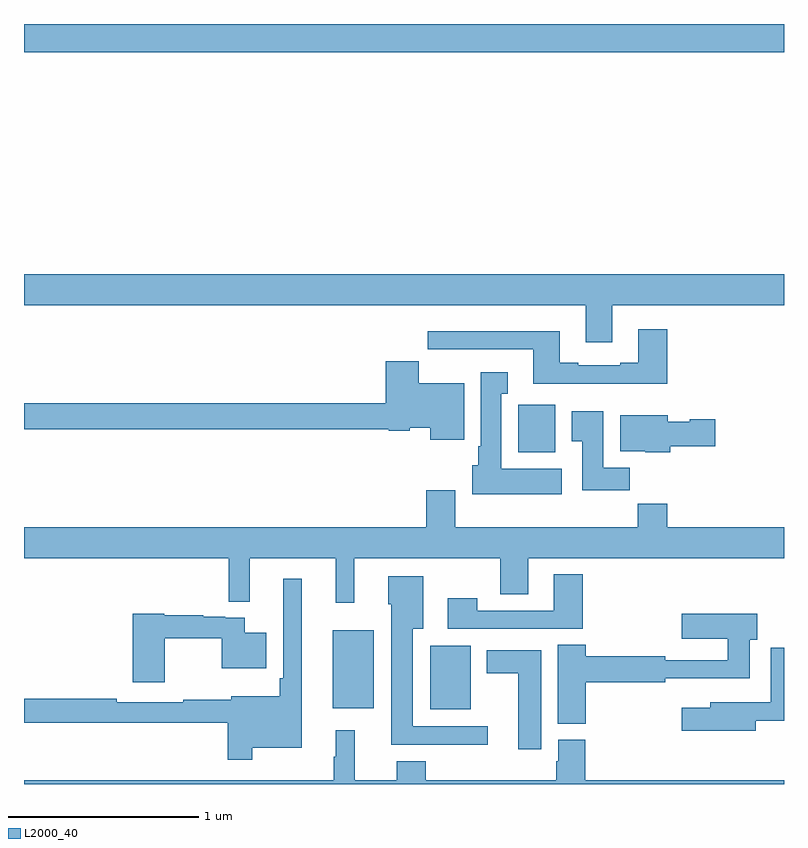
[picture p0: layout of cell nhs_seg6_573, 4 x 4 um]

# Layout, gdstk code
import gdstk
lib = gdstk.Library(unit=1e-6, precision=1e-09)
def R(c, l, rs):  # rectangles x0, y0, x1, y1
    for r in rs: c.add(gdstk.rectangle(r[:2], r[2:], *l))
def P(c, l, *ps):  # polygons
    for p in ps: c.add(gdstk.Polygon(p, *l))
L2000_40 = (2000, 40)

nhs_seg6_573 = lib.new_cell('nhs_seg6_573')
R(nhs_seg6_573, L2000_40, [(149.138,927.893,149.35,928.228), (148.625,927.899,148.84,928.309), (149.601,929.246,149.797,929.496), (147,931.352,151,931.5)])
P(nhs_seg6_573, L2000_40, [(150.097,930.02),(151,930.02),(151,930.184),(147,930.184),(147,930.02),(149.957,930.02),(149.957,929.826),(150.097,929.826)],
  [(150.386,929.893),(150.233,929.893),(150.233,929.716),(150.137,929.716),(150.137,929.703),(149.917,929.703),(149.917,929.716),(149.821,929.716),(149.821,929.884),(149.124,929.884),(149.124,929.789),(149.233,929.789),(149.233,929.787),(149.681,929.787),(149.681,929.606),(150.386,929.606)],
  [(149.317,929.608),(149.077,929.608),(149.077,929.724),(148.904,929.724),(148.904,929.504),(147,929.504),(147,929.368),(148.92,929.368),(148.92,929.36),(149.031,929.36),(149.031,929.375),(149.138,929.375),(149.138,929.312),(149.317,929.312)],
  [(149.83,929.158),(149.512,929.158),(149.512,929.555),(149.545,929.555),(149.545,929.668),(149.405,929.668),(149.405,929.278),(149.39,929.278),(149.39,929.178),(149.36,929.178),(149.36,929.024),(149.83,929.024)],
  [(150.188,929.164),(150.049,929.164),(150.049,929.461),(149.882,929.461),(149.882,929.305),(149.939,929.305),(149.939,929.046),(150.188,929.046)],
  [(150.401,929.278),(150.637,929.278),(150.637,929.42),(150.504,929.42),(150.504,929.407),(150.388,929.407),(150.388,929.44),(150.137,929.44),(150.137,929.252),(150.27,929.252),(150.27,929.246),(150.401,929.246)],
  [(148.738,928.688),(149.506,928.688),(149.506,928.498),(149.653,928.498),(149.653,928.688),(151,928.688),(151,928.852),(150.386,928.852),(150.386,928.976),(150.229,928.976),(150.229,928.852),(149.269,928.852),(149.269,929.047),(149.117,929.047),(149.117,928.852),(147,928.852),(147,928.688),(148.078,928.688),(148.078,928.459),(148.187,928.459),(148.187,928.688),(148.64,928.688),(148.64,928.455),(148.738,928.455)],
  [(149.942,928.603),(149.789,928.603),(149.789,928.413),(149.385,928.413),(149.385,928.477),(149.229,928.477),(149.229,928.317),(149.942,928.317)],
  [(149.44,927.804),(149.047,927.804),(149.047,928.316),(149.101,928.316),(149.101,928.594),(148.916,928.594),(148.916,928.446),(148.934,928.446),(148.934,927.707),(149.44,927.707)],
  [(148.201,927.692),(148.462,927.692),(148.462,928.579),(148.365,928.579),(148.365,928.057),(148.345,928.057),(148.345,927.961),(148.091,927.961),(148.091,927.943),(147.838,927.943),(147.838,927.93),(147.488,927.93),(147.488,927.95),(147,927.95),(147,927.822),(148.072,927.822),(148.072,927.627),(148.201,927.627)],
  [(147.742,928.266),(148.04,928.266),(148.04,928.109),(148.276,928.109),(148.276,928.297),(148.162,928.297),(148.162,928.374),(148.058,928.374),(148.058,928.38),(147.944,928.38),(147.944,928.387),(147.738,928.387),(147.738,928.395),(147.572,928.395),(147.572,928.035),(147.742,928.035)],
  [(149.957,928.036),(150.374,928.036),(150.374,928.056),(150.819,928.056),(150.819,928.258),(150.858,928.258),(150.858,928.395),(150.462,928.395),(150.462,928.265),(150.703,928.265),(150.703,928.152),(150.374,928.152),(150.374,928.172),(149.957,928.172),(149.957,928.232),(149.81,928.232),(149.81,927.817),(149.957,927.817)],
  [(150.85,927.834),(151,927.834),(151,928.216),(150.929,928.216),(150.929,927.93),(150.611,927.93),(150.611,927.901),(150.462,927.901),(150.462,927.779),(150.85,927.779)],
  [(149.722,928.204),(149.435,928.204),(149.435,928.082),(149.6,928.082),(149.6,927.684),(149.722,927.684)],
  [(151,927.52),(149.954,927.52),(149.954,927.732),(149.813,927.732),(149.813,927.621),(149.801,927.621),(149.801,927.52),(149.114,927.52),(149.114,927.619),(148.961,927.619),(148.961,927.52),(148.74,927.52),(148.74,927.784),(148.64,927.784),(148.64,927.644),(148.629,927.644),(148.629,927.52),(147,927.52),(147,927.5),(151,927.5)])

lib.write_gds('nhs_seg6_573.gds')
